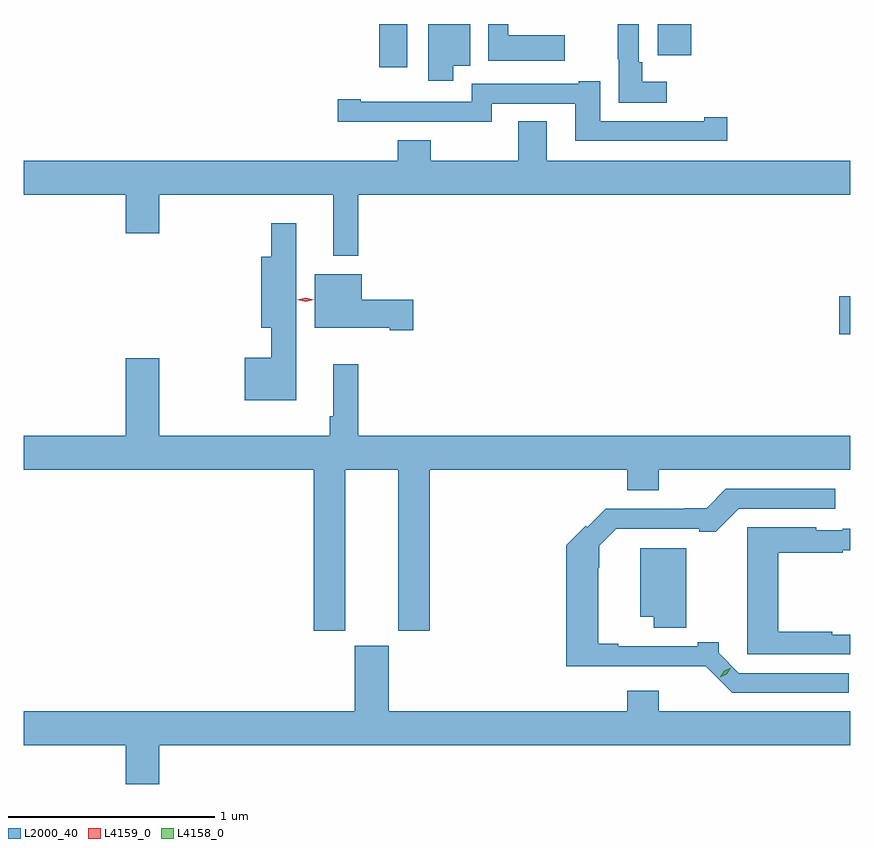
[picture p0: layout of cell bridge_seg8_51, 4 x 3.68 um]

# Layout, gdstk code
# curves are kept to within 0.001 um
import gdstk
lib = gdstk.Library(unit=1e-6, precision=1e-09)
def R(c, l, rs):  # rectangles x0, y0, x1, y1
    for r in rs: c.add(gdstk.rectangle(r[:2], r[2:], *l))
def P(c, l, *ps):  # polygons
    for p in ps: c.add(gdstk.Polygon(p, *l))
L2000_40 = (2000, 40)
L4158_0 = (4158, 0)
L4159_0 = (4159, 0)

bridge_seg8_51 = lib.new_cell('bridge_seg8_51')
R(bridge_seg8_51, L2000_40, [(1031.598,1111.829,1031.651,1112.012), (1029.371,1113.12,1029.508,1113.329), (1030.718,1113.177,1030.88,1113.329)])
P(bridge_seg8_51, L2000_40, [(1029.73,1113.128),(1029.811,1113.128),(1029.811,1113.329),(1029.608,1113.329),(1029.608,1113.054),(1029.73,1113.054)],
  [(1030.27,1113.274),(1029.996,1113.274),(1029.996,1113.329),(1029.9,1113.329),(1029.9,1113.152),(1030.27,1113.152)],
  [(1030.762,1113.049),(1030.644,1113.049),(1030.644,1113.145),(1030.626,1113.145),(1030.626,1113.329),(1030.525,1113.329),(1030.525,1113.159),(1030.53,1113.159),(1030.53,1112.948),(1030.762,1112.948)],
  [(1031.055,1112.879),(1030.943,1112.879),(1030.943,1112.859),(1030.441,1112.859),(1030.441,1113.052),(1030.337,1113.052),(1030.337,1113.039),(1029.819,1113.039),(1029.819,1112.952),(1029.512,1112.952),(1029.512,1112.953),(1029.283,1112.953),(1029.283,1112.965),(1029.171,1112.965),(1029.171,1112.856),(1029.709,1112.856),(1029.709,1112.855),(1029.915,1112.855),(1029.915,1112.943),(1030.319,1112.943),(1030.319,1112.763),(1031.055,1112.763)],
  [(1029.271,1112.504),(1031.651,1112.504),(1031.651,1112.668),(1030.183,1112.668),(1030.183,1112.858),(1030.043,1112.858),(1030.043,1112.668),(1029.621,1112.668),(1029.621,1112.767),(1029.461,1112.767),(1029.461,1112.668),(1027.651,1112.668),(1027.651,1112.504),(1028.144,1112.504),(1028.144,1112.316),(1028.308,1112.316),(1028.308,1112.504),(1029.149,1112.504),(1029.149,1112.208),(1029.271,1112.208)],
  [(1028.971,1112.365),(1028.85,1112.365),(1028.85,1112.203),(1028.801,1112.203),(1028.801,1111.859),(1028.85,1111.859),(1028.85,1111.714),(1028.72,1111.714),(1028.72,1111.508),(1028.971,1111.508)],
  [(1029.535,1111.994),(1029.286,1111.994),(1029.286,1112.119),(1029.059,1112.119),(1029.059,1111.859),(1029.422,1111.859),(1029.422,1111.847),(1029.535,1111.847)],
  [(1029.208,1111.172),(1029.464,1111.172),(1029.464,1110.393),(1029.617,1110.393),(1029.617,1111.172),(1030.571,1111.172),(1030.571,1111.073),(1030.723,1111.073),(1030.723,1111.172),(1031.651,1111.172),(1031.651,1111.336),(1029.271,1111.336),(1029.271,1111.684),(1029.149,1111.684),(1029.149,1111.432),(1029.132,1111.432),(1029.132,1111.336),(1028.308,1111.336),(1028.308,1111.711),(1028.144,1111.711),(1028.144,1111.336),(1027.651,1111.336),(1027.651,1111.172),(1029.055,1111.172),(1029.055,1110.393),(1029.208,1110.393)],
  [(1031.644,1110.189),(1031.112,1110.189),(1031.013,1110.288),(1031.013,1110.338),(1030.913,1110.338),(1030.913,1110.318),(1030.528,1110.318),(1030.528,1110.331),(1030.432,1110.331),(1030.432,1110.698),(1030.435,1110.698),(1030.435,1110.805),(1030.518,1110.888),(1030.919,1110.888),(1030.919,1110.872),(1031,1110.872),(1031.112,1110.984),(1031.578,1110.984),(1031.578,1111.08),(1031.049,1111.08),(1030.955,1110.986),(1030.85,1110.986),(1030.85,1110.984),(1030.467,1110.984),(1030.377,1110.894),(1030.37,1110.901),(1030.277,1110.807),(1030.277,1110.222),(1030.952,1110.221),(1031.079,1110.093),(1031.644,1110.093)],
  [(1031.651,1110.375),(1031.564,1110.375),(1031.564,1110.388),(1031.301,1110.388),(1031.301,1110.771),(1031.613,1110.771),(1031.613,1110.783),(1031.651,1110.783),(1031.651,1110.887),(1031.613,1110.887),(1031.613,1110.879),(1031.487,1110.879),(1031.487,1110.895),(1031.153,1110.895),(1031.153,1110.279),(1031.651,1110.279)],
  [(1030.858,1110.793),(1030.634,1110.793),(1030.634,1110.461),(1030.7,1110.461),(1030.7,1110.408),(1030.858,1110.408)],
  [(1028.308,1109.84),(1031.651,1109.84),(1031.651,1110.004),(1030.723,1110.004),(1030.723,1110.103),(1030.571,1110.103),(1030.571,1110.004),(1029.418,1110.004),(1029.418,1110.321),(1029.254,1110.321),(1029.254,1110.004),(1027.651,1110.004),(1027.651,1109.84),(1028.144,1109.84),(1028.144,1109.652),(1028.308,1109.652)])
P(bridge_seg8_51, L4158_0, [(1031.021,1110.169),(1031.021,1110.17),(1031.04,1110.199),(1031.071,1110.214),(1031.071,1110.214),(1031.071,1110.214),(1031.053,1110.184),(1031.022,1110.169)])
P(bridge_seg8_51, L4159_0, [(1029.015,1111.985),(1028.976,1111.995),(1028.976,1111.996),(1028.976,1111.996),(1029.015,1112.005),(1029.054,1111.995),(1029.054,1111.995),(1029.054,1111.995)])

lib.write_gds('bridge_seg8_51.gds')
